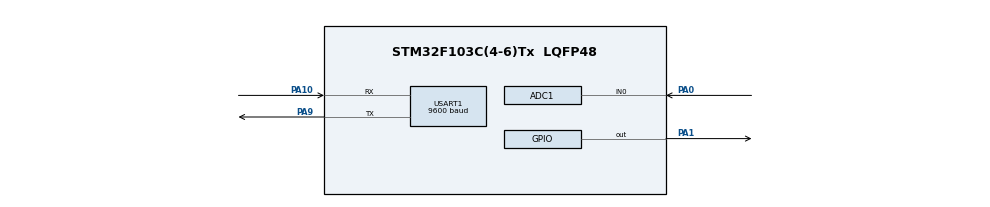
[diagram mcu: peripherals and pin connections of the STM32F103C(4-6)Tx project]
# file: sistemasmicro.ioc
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Mcu.Family=STM32F1
PA10.Mode=Asynchronous
USART1.BaudRate=9600
VP_SYS_VS_ND.Mode=No_Debug
ADC1.SamplingTime-2\#ChannelRegularConversion=ADC_SAMPLETIME_1CYCLE_5
ProjectManager.StackSize=0x400
PA0-WKUP.Signal=ADCx_IN0
PA9.Mode=Asynchronous
ProjectManager.TargetToolchain=STM32CubeIDE
PA9.Signal=USART1_TX
ADC1.Channel-2\#ChannelRegularConversion=ADC_CHANNEL_0
PA1.Signal=GPIO_Output
board=custom
RCC.APB2Freq_Value=8000000
ADC1.Rank-2\#ChannelRegularConversion=1
SH.ADCx_IN0.0=ADC1_IN0,IN0
Mcu.Name=STM32F103C(4-6)Tx
Mcu.Package=LQFP48
ADC1.master=1
USART1.VirtualMode=VM_ASYNC
PA10.Signal=USART1_RX
ProjectManager.HeapSize=0x200
NVIC.PriorityGroup=NVIC_PRIORITYGROUP_4
ADC1.NbrOfConversionFlag=1
RCC.APB1Freq_Value=8000000

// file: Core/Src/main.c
/* USER CODE BEGIN Header */
/**
  ******************************************************************************
  * @file           : main.c
  * @brief          : Main program body
  ******************************************************************************
  * @attention
  *
  * <h2><center>&copy; Copyright (c) 2021 STMicroelectronics.
  * All rights reserved.</center></h2>
  *
  * This software component is licensed by ST under BSD 3-Clause license,
  * the "License"; You may not use this file except in compliance with the
  * License. You may obtain a copy of the License at:
  *                        opensource.org/licenses/BSD-3-Clause
  *
  ******************************************************************************
  */
/* USER CODE END Header */
#include "main.h"

ADC_HandleTypeDef hadc1;

UART_HandleTypeDef huart1;

void SystemClock_Config(void);
static void MX_GPIO_Init(void);
static void MX_ADC1_Init(void);
static void MX_USART1_UART_Init(void);

int main(void)
{

  /* MCU Configuration--------------------------------------------------------*/

  /* Reset of all peripherals, Initializes the Flash interface and the Systick. */
  HAL_Init();

  /* Configure the system clock */
  SystemClock_Config();

  /* Initialize all configured peripherals */
  MX_GPIO_Init();
  MX_ADC1_Init();
  MX_USART1_UART_Init();
  /* USER CODE BEGIN 2 */

  HAL_Delay(1000);
  char inicio[] = "Iniciado com Sucesso! \n";
  char semgas[] = "Sem vazamento de gas! \n";
  char comgas[] = "Gas vazando! Verificar com urgencia!\n";
  char data[]= "\r\n";

  HAL_UART_Transmit(&huart1, inicio, strlen(inicio), 2000);
  HAL_UART_Transmit(&huart1, data, strlen(data), 2000);

  unsigned int ar=0;
  unsigned int x=0;
  unsigned int gas=0;
  unsigned int y=0;

  unsigned int z;

  int i=0;
  int j=0;
  int l=0;

  for(i=0;i<10;i++){
	  HAL_ADC_Start(&hadc1);
      x = HAL_ADC_GetValue(&hadc1);
      ar = ar + x;
  }

  ar = ar/10;

  uint8_t Rx_data[100];
  memset(Rx_data,0,100);

  /* USER CODE END 2 */

  /* Infinite loop */
  while (1)
  {

	  gas = 0;

	  while(gas<ar){
		  for(j=0;j<10;j++){
			  HAL_ADC_Start(&hadc1);
			  y = HAL_ADC_GetValue(&hadc1);
			  gas = gas + y;
		  }
		  gas = gas/10;
	  }

	  if((gas-ar)>200){
		  HAL_GPIO_WritePin(GPIOA,GPIO_PIN_13,1);
		  HAL_Delay(100);
	      //rele = 1;
	      if(l==1){
	    	  HAL_UART_Transmit(&huart1, comgas, strlen(comgas), 2000);
	    	  HAL_UART_Receive (&huart1, Rx_data, 100, 2000);
	    	  HAL_UART_Transmit(&huart1, data, strlen(data), 2000);
	    	  HAL_UART_Receive (&huart1, Rx_data, 100, 2000);
	          //TSU(semgas);
	          }
	      l=0;
	  }

	  else{
		  HAL_GPIO_WritePin(GPIOA,GPIO_PIN_13,0);
		  HAL_Delay(100);
	      //rele = 0;
	      if(l==0){
	    	  HAL_UART_Transmit(&huart1, semgas, strlen(semgas), 2000);
	    	  HAL_UART_Receive (&huart1, Rx_data, 100, 2000);
	    	  HAL_UART_Transmit(&huart1, data, strlen(data), 2000);
	    	  HAL_UART_Receive (&huart1, Rx_data, 100, 2000);
	          //TSU(comgas);
	          }
	      l=1;
	  }

	  gas = 0;

	  HAL_ADC_Start(&hadc1);
	  z = HAL_ADC_GetValue(&hadc1);

	  if(z>777){
		  HAL_GPIO_WritePin(GPIOA,GPIO_PIN_1,1);

	  }

	  else{
		  HAL_GPIO_WritePin(GPIOA,GPIO_PIN_1,0);
	  }

  }
}

void SystemClock_Config(void)
{
  RCC_OscInitTypeDef RCC_OscInitStruct = {0};
  RCC_ClkInitTypeDef RCC_ClkInitStruct = {0};
  RCC_PeriphCLKInitTypeDef PeriphClkInit = {0};

  /** Initializes the RCC Oscillators according to the specified parameters
  * in the RCC_OscInitTypeDef structure.
  */
  RCC_OscInitStruct.OscillatorType = RCC_OSCILLATORTYPE_HSI;
  RCC_OscInitStruct.HSIState = RCC_HSI_ON;
  RCC_OscInitStruct.HSICalibrationValue = RCC_HSICALIBRATION_DEFAULT;
  RCC_OscInitStruct.PLL.PLLState = RCC_PLL_NONE;
  if (HAL_RCC_OscConfig(&RCC_OscInitStruct) != HAL_OK)
  {
    Error_Handler();
  }
  /** Initializes the CPU, AHB and APB buses clocks
  */
  RCC_ClkInitStruct.ClockType = RCC_CLOCKTYPE_HCLK|RCC_CLOCKTYPE_SYSCLK
                              |RCC_CLOCKTYPE_PCLK1|RCC_CLOCKTYPE_PCLK2;
  RCC_ClkInitStruct.SYSCLKSource = RCC_SYSCLKSOURCE_HSI;
  RCC_ClkInitStruct.AHBCLKDivider = RCC_SYSCLK_DIV1;
  RCC_ClkInitStruct.APB1CLKDivider = RCC_HCLK_DIV1;
  RCC_ClkInitStruct.APB2CLKDivider = RCC_HCLK_DIV1;

  if (HAL_RCC_ClockConfig(&RCC_ClkInitStruct, FLASH_LATENCY_0) != HAL_OK)
  {
    Error_Handler();
  }
  PeriphClkInit.PeriphClockSelection = RCC_PERIPHCLK_ADC;
  PeriphClkInit.AdcClockSelection = RCC_ADCPCLK2_DIV2;
  if (HAL_RCCEx_PeriphCLKConfig(&PeriphClkInit) != HAL_OK)
  {
    Error_Handler();
  }
}

static void MX_ADC1_Init(void)
{

  ADC_ChannelConfTypeDef sConfig = {0};

  /** Common config
  */
  hadc1.Instance = ADC1;
  hadc1.Init.ScanConvMode = ADC_SCAN_DISABLE;
  hadc1.Init.ContinuousConvMode = DISABLE;
  hadc1.Init.DiscontinuousConvMode = DISABLE;
  hadc1.Init.ExternalTrigConv = ADC_SOFTWARE_START;
  hadc1.Init.DataAlign = ADC_DATAALIGN_RIGHT;
  hadc1.Init.NbrOfConversion = 1;
  if (HAL_ADC_Init(&hadc1) != HAL_OK)
  {
    Error_Handler();
  }
  /** Configure Regular Channel
  */
  sConfig.Channel = ADC_CHANNEL_0;
  sConfig.Rank = ADC_REGULAR_RANK_1;
  sConfig.SamplingTime = ADC_SAMPLETIME_1CYCLE_5;
  if (HAL_ADC_ConfigChannel(&hadc1, &sConfig) != HAL_OK)
  {
    Error_Handler();
  }

}

static void MX_USART1_UART_Init(void)
{

  huart1.Instance = USART1;
  huart1.Init.BaudRate = 9600;
  huart1.Init.WordLength = UART_WORDLENGTH_8B;
  huart1.Init.StopBits = UART_STOPBITS_1;
  huart1.Init.Parity = UART_PARITY_NONE;
  huart1.Init.Mode = UART_MODE_TX_RX;
  huart1.Init.HwFlowCtl = UART_HWCONTROL_NONE;
  huart1.Init.OverSampling = UART_OVERSAMPLING_16;
  if (HAL_UART_Init(&huart1) != HAL_OK)
  {
    Error_Handler();
  }

}

static void MX_GPIO_Init(void)
{
  GPIO_InitTypeDef GPIO_InitStruct = {0};

  /* GPIO Ports Clock Enable */
  __HAL_RCC_GPIOA_CLK_ENABLE();

  /*Configure GPIO pin Output Level */
  HAL_GPIO_WritePin(GPIOA, GPIO_PIN_1, GPIO_PIN_RESET);

  /*Configure GPIO pin : PA1 */
  GPIO_InitStruct.Pin = GPIO_PIN_1;
  GPIO_InitStruct.Mode = GPIO_MODE_OUTPUT_PP;
  GPIO_InitStruct.Pull = GPIO_NOPULL;
  GPIO_InitStruct.Speed = GPIO_SPEED_FREQ_LOW;
  HAL_GPIO_Init(GPIOA, &GPIO_InitStruct);

}

void Error_Handler(void)
{
  __disable_irq();
  while (1)
  {
  }
}

/************************ (C) COPYRIGHT STMicroelectronics *****END OF FILE****/
